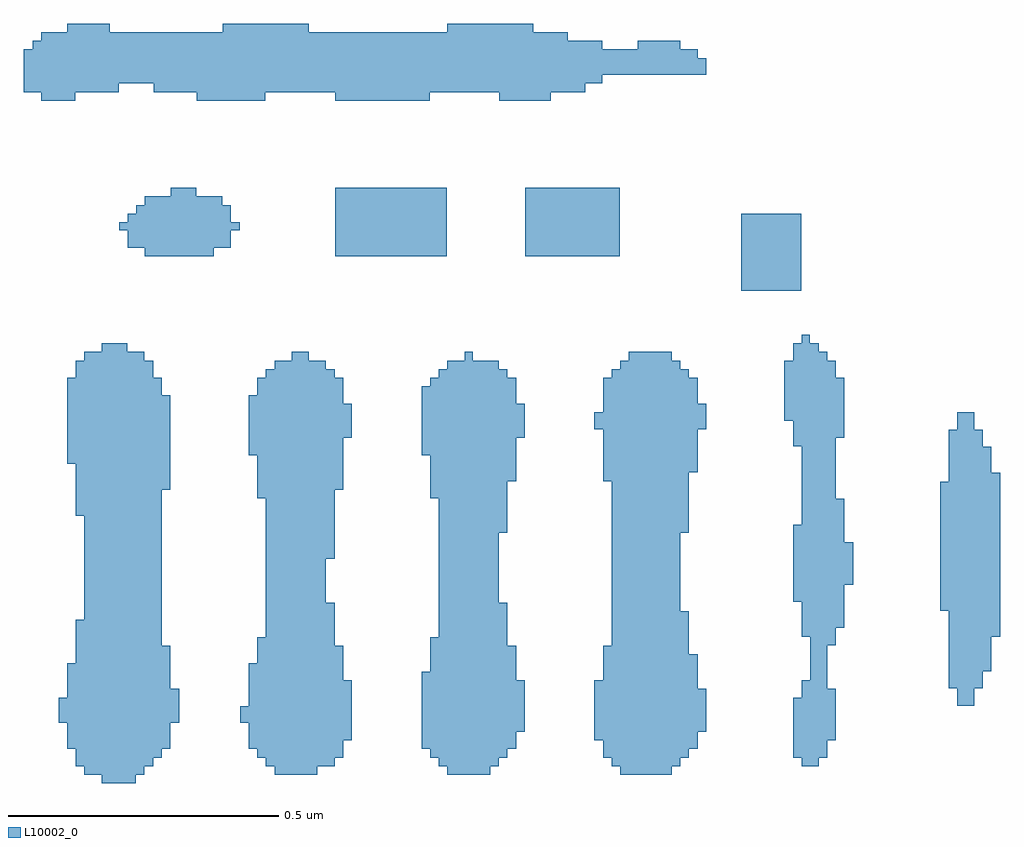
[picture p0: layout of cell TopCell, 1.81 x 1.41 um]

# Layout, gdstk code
import gdstk
lib = gdstk.Library(unit=1e-6, precision=1e-09)
def R(c, l, rs):  # rectangles x0, y0, x1, y1
    for r in rs: c.add(gdstk.rectangle(r[:2], r[2:], *l))
def A(c, l, x, y, w, h, nx, ny, dx, dy):  # array of equal rectangles
    R(c, l, [(x+i*dx, y+j*dy, x+i*dx+w, y+j*dy+h) for i in range(nx) for j in range(ny)])
L10002_0 = (10002, 0)

topcell = lib.new_cell('TopCell')
A(topcell, L10002_0, 1.295, 1.168, 0.016, 0.751, 3, 1, 0.32, 0)
A(topcell, L10002_0, 1.52, 1.168, 0.016, 0.735, 3, 1, 0.32, 0)
R(topcell, L10002_0, [(1.216,1.136,1.263,1.951), (1.263,1.136,1.279,1.935), (1.184,1.152,1.216,1.935), (1.279,1.152,1.295,1.935), (1.536,1.152,1.615,1.919), (1.856,1.152,1.935,1.919), (2.176,1.152,2.271,1.919), (1.168,1.168,1.184,1.439), (1.631,1.168,1.647,1.471), (2.271,1.168,2.287,1.919), (2.512,1.168,2.543,1.327), (1.311,1.184,1.327,1.887), (1.504,1.184,1.52,1.407), (1.647,1.184,1.663,1.391), (1.824,1.184,1.84,1.407), (1.951,1.184,1.967,1.471), (2.144,1.184,2.16,1.391), (2.287,1.184,2.303,1.455), (2.496,1.184,2.512,1.295), (2.543,1.184,2.559,1.935), (1.152,1.2,1.168,1.359), (1.327,1.2,1.343,1.391), (1.488,1.2,1.504,1.359), (1.808,1.2,1.824,1.343), (1.967,1.2,1.983,1.391), (2.303,1.2,2.319,1.375), (1.663,1.216,1.679,1.327), (2.128,1.216,2.144,1.327), (2.559,1.216,2.575,1.311), (1.983,1.232,1.999,1.327), (2.319,1.232,2.335,1.311), (1.136,1.248,1.152,1.295), (1.343,1.248,1.359,1.311), (1.472,1.248,1.488,1.279), (2.8,1.28,2.831,1.823), (2.784,1.312,2.8,1.791), (2.831,1.312,2.847,1.791), (2.528,1.327,2.543,1.951), (2.847,1.344,2.863,1.759), (2.559,1.392,2.575,1.919), (2.512,1.408,2.527,1.967), (2.527,1.408,2.528,1.951), (2.863,1.408,2.879,1.711), (2.575,1.424,2.591,1.663), (2.768,1.456,2.784,1.695), (2.496,1.472,2.512,1.615), (2.591,1.504,2.607,1.583), (1.631,1.552,1.647,1.903), (1.951,1.6,1.967,1.903), (2.287,1.6,2.303,1.903), (1.168,1.632,1.184,1.919), (1.504,1.664,1.52,1.887), (1.824,1.664,1.84,1.887), (1.327,1.68,1.343,1.855), (1.647,1.68,1.663,1.887), (1.967,1.696,1.983,1.887), (2.144,1.696,2.16,1.887), (2.303,1.712,2.319,1.887), (1.152,1.728,1.168,1.887), (1.488,1.744,1.504,1.855), (1.808,1.744,1.824,1.871), (2.496,1.76,2.512,1.951), (1.663,1.776,1.679,1.839), (1.983,1.776,1.999,1.839), (2.575,1.776,2.591,1.887), (2.128,1.792,2.144,1.823), (2.319,1.792,2.335,1.839), (2.48,1.808,2.496,1.919), (1.568,1.919,1.599,1.935), (1.888,1.919,1.903,1.935), (2.192,1.919,2.271,1.935), (2.4,2.048,2.511,2.191), (1.296,2.112,1.423,2.223), (1.648,2.112,1.855,2.239), (2,2.112,2.175,2.239), (1.264,2.128,1.296,2.191), (1.423,2.128,1.439,2.223), (1.439,2.128,1.455,2.207), (1.248,2.16,1.264,2.175), (1.455,2.16,1.471,2.175), (1.28,2.191,1.296,2.207), (1.344,2.223,1.391,2.239), (1.104,2.4,1.167,2.527), (1.392,2.4,1.519,2.527), (1.648,2.4,1.823,2.527), (1.952,2.4,2.015,2.543), (2.015,2.4,2.047,2.527), (1.072,2.416,1.104,2.495), (1.167,2.416,1.231,2.543), (1.231,2.416,1.247,2.527), (1.312,2.416,1.392,2.527), (1.519,2.416,1.599,2.543), (1.599,2.416,1.648,2.527), (1.823,2.416,1.952,2.527), (2.047,2.416,2.079,2.527), (2.079,2.416,2.111,2.511), (1.247,2.432,1.312,2.527), (2.111,2.432,2.143,2.511), (2.143,2.448,2.319,2.495), (2.319,2.448,2.335,2.479), (1.088,2.495,1.104,2.511), (2.208,2.495,2.287,2.511), (1.152,2.527,1.167,2.543), (1.44,2.527,1.519,2.543), (1.856,2.527,1.952,2.543)])

lib.write_gds('TopCell.gds')
